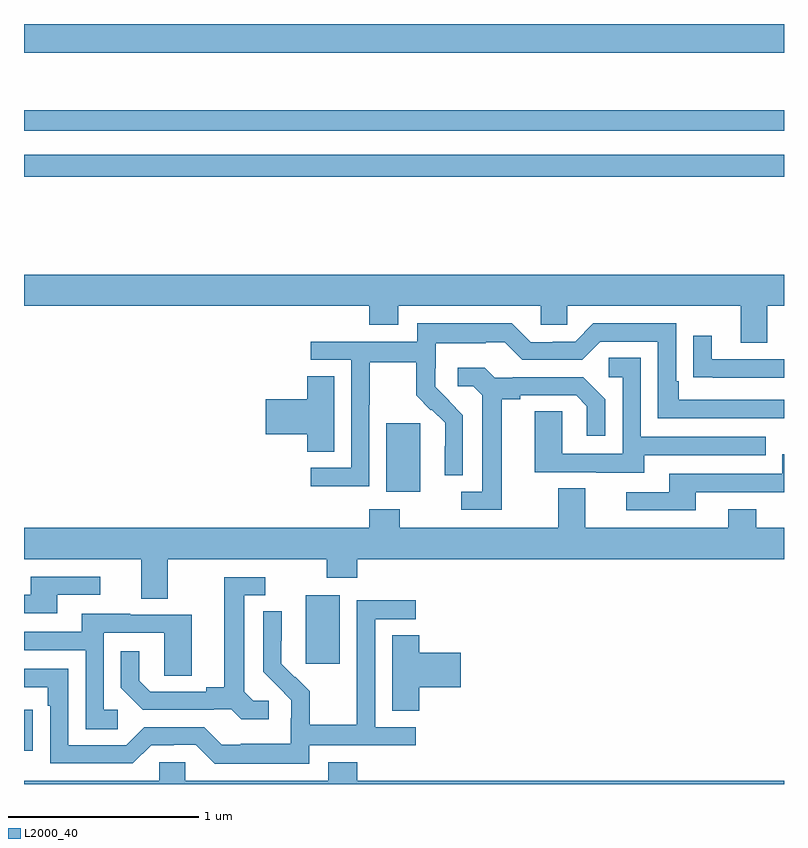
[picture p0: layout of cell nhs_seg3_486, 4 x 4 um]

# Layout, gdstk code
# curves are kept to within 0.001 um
import gdstk
lib = gdstk.Library(unit=1e-6, precision=1e-09)
def R(c, l, rs):  # rectangles x0, y0, x1, y1
    for r in rs: c.add(gdstk.rectangle(r[:2], r[2:], *l))
def P(c, l, *ps):  # polygons
    for p in ps: c.add(gdstk.Polygon(p, *l))
L2000_40 = (2000, 40)

nhs_seg3_486 = lib.new_cell('nhs_seg3_486')
R(nhs_seg3_486, L2000_40, [(135,698.574,135.047,698.792), (136.484,699.033,136.663,699.394), (136.907,699.938,137.086,700.299), (135,701.596,139,701.712), (135,701.838,139,701.947), (135,702.248,139,702.4)])
P(nhs_seg3_486, L2000_40, [(138.913,700.916),(139,700.916),(139,701.08),(135,701.08),(135,700.916),(136.817,700.916),(136.817,700.817),(136.969,700.817),(136.969,700.916),(137.721,700.916),(137.721,700.818),(137.859,700.818),(137.859,700.916),(138.773,700.916),(138.773,700.722),(138.913,700.722)],
  [(136.818,700.396),(136.821,700.396),(136.821,700.62),(137.065,700.62),(137.065,700.445),(137.142,700.368),(137.145,700.371),(137.216,700.301),(137.216,700.178),(137.214,700.178),(137.214,700.024),(137.31,700.024),(137.31,700.342),(137.164,700.49),(137.164,700.587),(137.166,700.587),(137.166,700.721),(137.429,700.721),(137.429,700.725),(137.529,700.725),(137.622,700.632),(137.937,700.632),(138.033,700.728),(138.336,700.728),(138.336,700.326),(139,700.326),(139,700.422),(138.445,700.422),(138.445,700.519),(138.432,700.519),(138.432,700.824),(137.997,700.824),(137.901,700.728),(137.783,700.728),(137.783,700.725),(137.667,700.725),(137.567,700.825),(137.07,700.825),(137.07,700.728),(136.509,700.728),(136.509,700.632),(136.722,700.632),(136.722,700.065),(136.509,700.065),(136.509,699.967),(136.818,699.967)],
  [(139,700.635),(138.619,700.635),(138.619,700.759),(138.523,700.759),(138.523,700.54),(138.625,700.54),(138.625,700.539),(139,700.539)],
  [(138.265,700.131),(138.905,700.131),(138.905,700.227),(138.246,700.227),(138.246,700.643),(138.078,700.643),(138.078,700.542),(138.15,700.542),(138.15,700.137),(137.832,700.137),(137.832,700.361),(137.687,700.361),(137.687,700.041),(138.011,700.041),(138.011,700.037),(138.265,700.037)],
  [(137.515,700.424),(137.611,700.424),(137.611,700.446),(137.906,700.446),(137.963,700.389),(137.963,700.233),(138.06,700.233),(138.06,700.426),(137.944,700.542),(137.572,700.542),(137.572,700.539),(137.478,700.539),(137.426,700.591),(137.283,700.591),(137.283,700.494),(137.364,700.494),(137.411,700.447),(137.411,699.939),(137.301,699.939),(137.301,699.843),(137.515,699.843)],
  [(136.633,700.547),(136.49,700.547),(136.49,700.424),(136.272,700.424),(136.272,700.241),(136.49,700.241),(136.49,700.15),(136.633,700.15)],
  [(138.535,699.936),(139,699.936),(139,700.135),(138.99,700.135),(138.99,700.032),(138.395,700.032),(138.395,699.936),(138.171,699.936),(138.171,699.84),(138.535,699.84)],
  [(135.757,699.584),(136.594,699.584),(136.594,699.485),(136.754,699.485),(136.754,699.584),(139,699.584),(139,699.748),(138.855,699.748),(138.855,699.847),(138.707,699.847),(138.707,699.748),(137.953,699.748),(137.953,699.956),(137.813,699.956),(137.813,699.748),(136.977,699.748),(136.977,699.847),(136.817,699.847),(136.817,699.748),(135,699.748),(135,699.584),(135.617,699.584),(135.617,699.376),(135.757,699.376)],
  [(135.175,699.396),(135.4,699.396),(135.4,699.492),(135.035,699.492),(135.035,699.396),(135,699.396),(135,699.3),(135.175,699.3)],
  [(136.288,698.838),(136.206,698.838),(136.159,698.885),(136.159,699.393),(136.27,699.393),(136.27,699.489),(136.055,699.489),(136.055,698.909),(135.959,698.909),(135.959,698.886),(135.664,698.886),(135.607,698.943),(135.607,699.1),(135.51,699.1),(135.51,698.906),(135.626,698.79),(135.998,698.79),(135.998,698.793),(136.092,698.793),(136.144,698.741),(136.288,698.741)],
  [(136.5,698.604),(137.062,698.604),(137.062,698.7),(136.848,698.7),(136.848,699.267),(137.062,699.267),(137.062,699.366),(136.752,699.366),(136.752,698.936),(136.75,698.936),(136.75,698.713),(136.505,698.713),(136.505,698.887),(136.428,698.964),(136.425,698.961),(136.355,699.032),(136.356,699.308),(136.26,699.308),(136.26,698.99),(136.406,698.842),(136.406,698.745),(136.404,698.745),(136.404,698.611),(136.141,698.611),(136.141,698.607),(136.041,698.607),(135.948,698.7),(135.633,698.7),(135.537,698.604),(135.234,698.604),(135.234,699.006),(135,699.006),(135,698.91),(135.125,698.91),(135.125,698.813),(135.138,698.813),(135.138,698.508),(135.573,698.508),(135.669,698.604),(135.788,698.604),(135.788,698.607),(135.903,698.607),(136.003,698.507),(136.5,698.507)],
  [(135.493,698.79),(135.42,698.79),(135.42,699.195),(135.738,699.195),(135.738,698.971),(135.883,698.971),(135.883,699.291),(135.559,699.291),(135.559,699.295),(135.305,699.295),(135.305,699.201),(135,699.201),(135,699.105),(135.324,699.105),(135.324,698.689),(135.493,698.689)],
  [(137.081,698.909),(137.299,698.909),(137.299,699.092),(137.081,699.092),(137.081,699.182),(136.937,699.182),(136.937,698.785),(137.081,698.785)],
  [(139,698.416),(136.754,698.416),(136.754,698.515),(136.601,698.515),(136.601,698.416),(135.849,698.416),(135.849,698.514),(135.711,698.514),(135.711,698.416),(135,698.416),(135,698.4),(139,698.4)])

lib.write_gds('nhs_seg3_486.gds')
